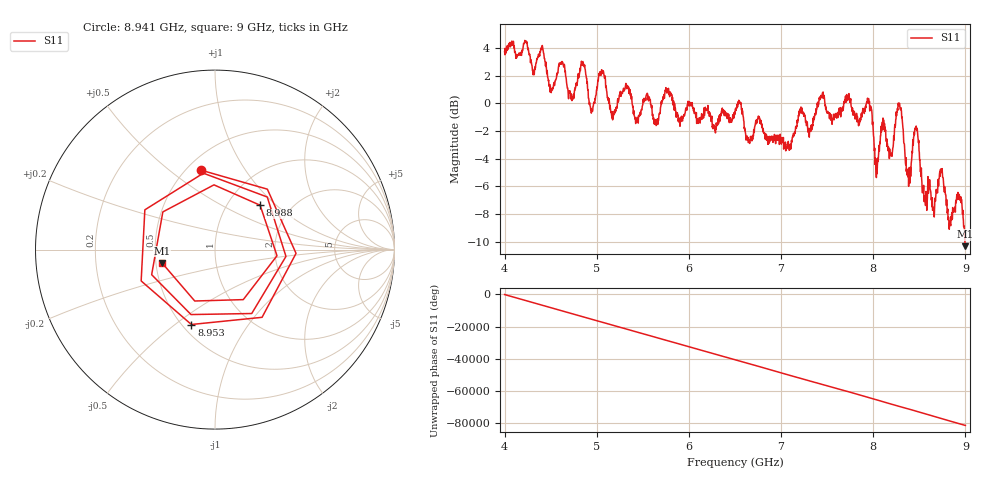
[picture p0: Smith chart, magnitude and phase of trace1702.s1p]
! Created with skrf 1.8.0 (http://scikit-rf.org).
# Hz S RI R 50.0
!freq ReS11 ImS11
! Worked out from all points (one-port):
!   1601 points, 4 GHz to 9 GHz, reference 50 ohm
!   lowest |S11| = -10.3 dB at 9 GHz (marker M1), VSWR 1.88, Z = 26.9 - j4.38 ohm
!   |S11| at or under -10 dB: 8.99494 GHz to end of sweep
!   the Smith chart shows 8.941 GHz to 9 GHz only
!   S11 on the Smith chart (normalised r, x): 8.941 GHz: 0.59, +0.65; 8.953 GHz: 0.56, -0.57; 8.988 GHz: 1.41, +0.80; 9 GHz: 0.54, -0.09
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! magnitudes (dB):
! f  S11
! 4 GHz  3.7
! 4.409 GHz  4.2
! 4.506 GHz  0.8
! 4.625 GHz  3.0
! 4.731 GHz  0.2
! 4.853 GHz  2.8
! 4.941 GHz  -0.7
! 5.05 GHz  2.1
! 5.162 GHz  -1.0
! 5.25 GHz  0.7
! 5.875 GHz  -0.7
! 6.5 GHz  -0.7
! 7.125 GHz  -2.4
! 7.75 GHz  0.2
! 7.959 GHz  0.1
! 8.038 GHz  -4.0
! 8.109 GHz  -1.7
! 8.194 GHz  -3.8
! 8.288 GHz  -0.1
! 8.375 GHz  -5.1
! 8.462 GHz  -1.9
! 8.559 GHz  -7.0
! 8.738 GHz  -5.0
! 8.828 GHz  -8.7
! 8.941 GHz  -7.0
! 8.953 GHz  -7.2
! 8.988 GHz  -9.1
! 9 GHz  -10.3
